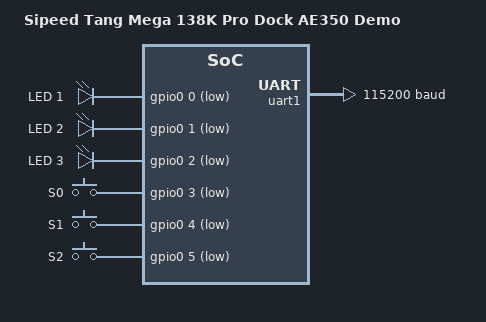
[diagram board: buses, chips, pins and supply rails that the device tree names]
/*
 * SPDX-FileCopyrightText: Copyright (c) 2026 TOKITA Hiroshi
 * SPDX-License-Identifier: Apache-2.0
 */

/dts-v1/;

#include "tang_mega_138k_pro_ae350.dts"
#include <zephyr/dt-bindings/gpio/gpio.h>
#include <zephyr/dt-bindings/input/input-event-codes.h>

/ {
	model = "Sipeed Tang Mega 138K Pro Dock AE350 Demo";
	compatible = "sipeed,tang-mega-138k-pro-ae350-demo";

	aliases {
		led0 = &led0;
		led1 = &led1;
		led2 = &led2;
		sw0 = &key0;
		sw1 = &key1;
		sw2 = &key2;
	};

	leds {
		compatible = "gpio-leds";

		led0: led_0 {
			gpios = <&gpio0 0 GPIO_ACTIVE_LOW>;
			label = "LED 1";
		};

		led1: led_1 {
			gpios = <&gpio0 1 GPIO_ACTIVE_LOW>;
			label = "LED 2";
		};

		led2: led_2 {
			gpios = <&gpio0 2 GPIO_ACTIVE_LOW>;
			label = "LED 3";
		};
	};

	gpio_keys {
		compatible = "gpio-keys";

		key0: key_0 {
			gpios = <&gpio0 3 GPIO_ACTIVE_LOW>;
			label = "S0";
			zephyr,code = <INPUT_KEY_0>;
		};

		key1: key_1 {
			gpios = <&gpio0 4 GPIO_ACTIVE_LOW>;
			label = "S1";
			zephyr,code = <INPUT_KEY_1>;
		};

		key2: key_2 {
			gpios = <&gpio0 5 GPIO_ACTIVE_LOW>;
			label = "S2";
			zephyr,code = <INPUT_KEY_2>;
		};
	};
};

&dram {
	reg = <0x00000000 DT_SIZE_M(256)>;
};

&uart1 {
	clock-frequency = <50000000>;
	current-speed = <115200>;
	status = "okay";
};

&gpio0 {
	ngpios = <6>;
	status = "okay";
};
